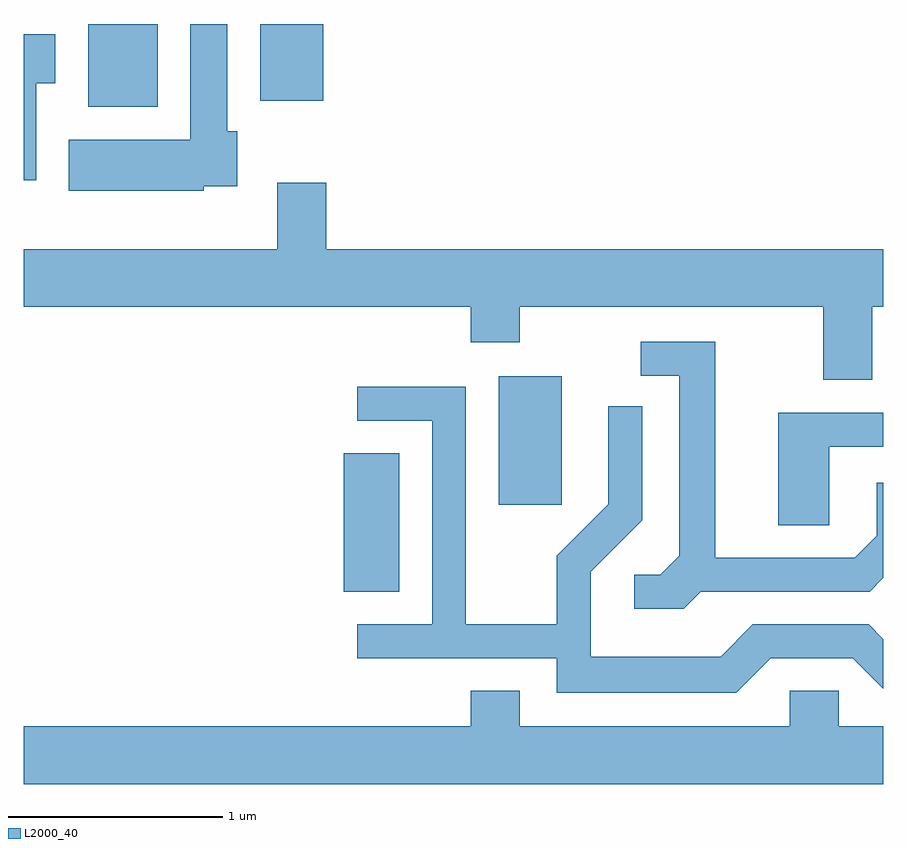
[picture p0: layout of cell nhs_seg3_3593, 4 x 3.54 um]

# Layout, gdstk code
import gdstk
lib = gdstk.Library(unit=1e-6, precision=1e-09)
def R(c, l, rs):  # rectangles x0, y0, x1, y1
    for r in rs: c.add(gdstk.rectangle(r[:2], r[2:], *l))
def P(c, l, *ps):  # polygons
    for p in ps: c.add(gdstk.Polygon(p, *l))
L2000_40 = (2000, 40)

nhs_seg3_3593 = lib.new_cell('nhs_seg3_3593')
R(nhs_seg3_3593, L2000_40, [(291.101,1231.251,291.359,1231.894), (291.821,1231.656,292.114,1232.254), (289.911,1233.506,290.234,1233.892), (290.711,1233.536,291.004,1233.892)])
P(nhs_seg3_3593, L2000_40, [(290.449,1233.136),(290.604,1233.136),(290.604,1233.394),(290.559,1233.394),(290.559,1233.892),(290.386,1233.892),(290.386,1233.354),(289.821,1233.354),(289.821,1233.116),(290.449,1233.116)],
  [(289.669,1233.616),(289.759,1233.616),(289.759,1233.844),(289.611,1233.844),(289.611,1233.166),(289.669,1233.166)],
  [(293.559,1232.576),(293.611,1232.576),(293.611,1232.844),(291.019,1232.844),(291.019,1233.154),(290.791,1233.154),(290.791,1232.844),(289.611,1232.844),(289.611,1232.576),(291.691,1232.576),(291.691,1232.411),(291.919,1232.411),(291.919,1232.576),(293.331,1232.576),(293.331,1232.236),(293.559,1232.236)],
  [(292.762,1231.251),(293.547,1231.251),(293.611,1231.315),(293.611,1231.758),(293.581,1231.758),(293.581,1231.512),(293.479,1231.409),(292.829,1231.409),(292.829,1232.414),(292.483,1232.414),(292.483,1232.256),(292.661,1232.256),(292.661,1231.417),(292.574,1231.329),(292.453,1231.329),(292.453,1231.171),(292.682,1231.171)],
  [(293.087,1230.941),(293.469,1230.941),(293.611,1230.799),(293.611,1231.03),(293.542,1231.099),(293.004,1231.099),(292.854,1230.949),(292.249,1230.949),(292.249,1231.344),(292.489,1231.584),(292.489,1232.113),(292.331,1232.113),(292.331,1231.657),(292.091,1231.417),(292.091,1231.099),(291.669,1231.099),(291.669,1232.204),(291.163,1232.204),(291.163,1232.046),(291.511,1232.046),(291.511,1231.099),(291.163,1231.099),(291.163,1230.941),(292.091,1230.941),(292.091,1230.781),(292.927,1230.781)],
  [(293.359,1231.926),(293.611,1231.926),(293.611,1232.084),(293.121,1232.084),(293.121,1231.561),(293.359,1231.561)],
  [(293.611,1230.624),(293.404,1230.624),(293.404,1230.789),(293.176,1230.789),(293.176,1230.624),(291.919,1230.624),(291.919,1230.789),(291.691,1230.789),(291.691,1230.624),(289.611,1230.624),(289.611,1230.356),(293.611,1230.356)])

lib.write_gds('nhs_seg3_3593.gds')
